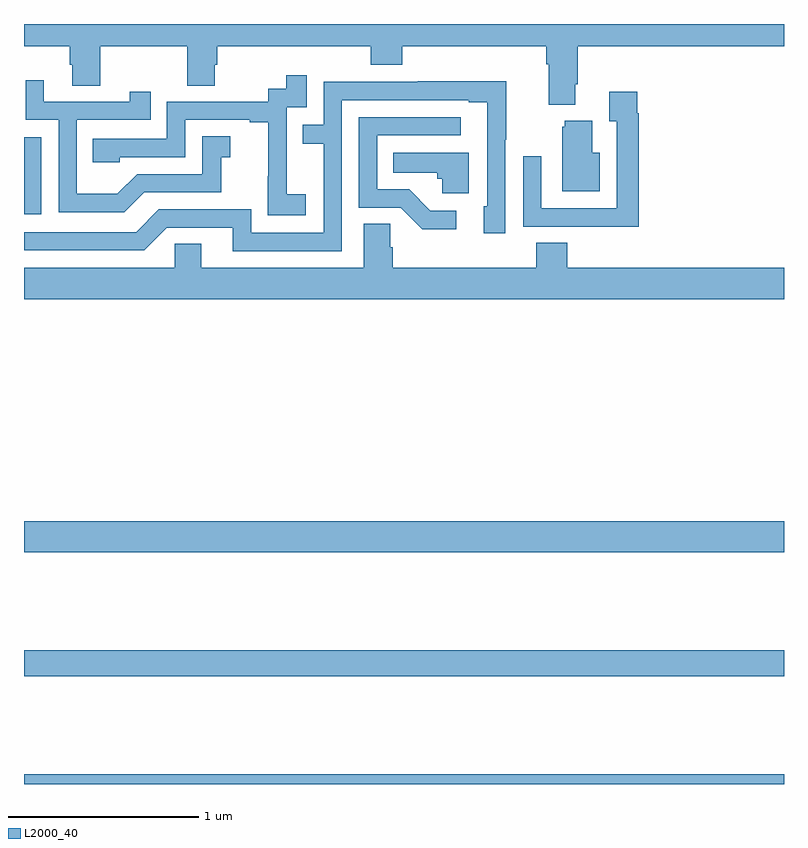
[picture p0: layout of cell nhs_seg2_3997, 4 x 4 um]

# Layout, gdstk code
import gdstk
lib = gdstk.Library(unit=1e-6, precision=1e-09)
def R(c, l, rs):  # rectangles x0, y0, x1, y1
    for r in rs: c.add(gdstk.rectangle(r[:2], r[2:], *l))
def P(c, l, *ps):  # polygons
    for p in ps: c.add(gdstk.Polygon(p, *l))
L2000_40 = (2000, 40)

nhs_seg2_3997 = lib.new_cell('nhs_seg2_3997')
R(nhs_seg2_3997, L2000_40, [(325,595.8,329,595.852), (325,596.368,329,596.504), (325,597.02,329,597.184), (325,598.8,325.092,599.205)])
P(nhs_seg2_3997, L2000_40, [(325,599.684),(325.241,599.684),(325.241,599.586),(325.253,599.586),(325.253,599.476),(325.401,599.476),(325.401,599.684),(325.858,599.684),(325.858,599.476),(326.005,599.476),(326.005,599.586),(326.018,599.586),(326.018,599.684),(326.825,599.684),(326.825,599.585),(326.99,599.585),(326.99,599.684),(327.749,599.684),(327.749,599.588),(327.761,599.588),(327.761,599.375),(327.901,599.375),(327.901,599.482),(327.914,599.482),(327.914,599.684),(329,599.684),(329,599.8),(325,599.8)],
  [(326.482,598.903),(326.384,598.903),(326.384,599.132),(326.382,599.132),(326.382,599.361),(326.487,599.361),(326.487,599.53),(326.379,599.53),(326.379,599.46),(326.286,599.46),(326.286,599.391),(325.752,599.391),(325.752,599.196),(325.363,599.196),(325.363,599.073),(325.503,599.073),(325.503,599.1),(325.848,599.1),(325.848,599.295),(326.189,599.295),(326.189,599.283),(326.285,599.283),(326.285,598.999),(326.284,598.999),(326.284,598.793),(326.482,598.793)],
  [(325.633,598.914),(326.037,598.914),(326.037,599.099),(326.086,599.099),(326.086,599.209),(325.938,599.209),(325.938,599.01),(325.596,599.01),(325.492,598.906),(325.278,598.906),(325.278,599.295),(325.667,599.295),(325.667,599.443),(325.556,599.443),(325.556,599.391),(325.105,599.391),(325.105,599.503),(325.008,599.503),(325.008,599.295),(325.182,599.295),(325.182,598.809),(325.528,598.809)],
  [(326.673,599.4),(327.341,599.4),(327.341,599.388),(327.438,599.388),(327.438,598.842),(327.419,598.842),(327.419,598.698),(327.534,598.698),(327.534,599.191),(327.537,599.191),(327.537,599.498),(327.073,599.498),(327.073,599.496),(326.577,599.496),(326.577,599.271),(326.467,599.271),(326.467,599.17),(326.577,599.17),(326.577,598.701),(326.196,598.701),(326.196,598.824),(325.71,598.824),(325.59,598.704),(325,598.704),(325,598.608),(325.632,598.608),(325.752,598.728),(326.099,598.728),(326.099,598.605),(326.673,598.605)],
  [(328.235,599.33),(328.228,599.33),(328.228,599.443),(328.079,599.443),(328.079,599.287),(328.119,599.287),(328.119,598.83),(327.723,598.83),(327.723,599.104),(327.627,599.104),(327.627,598.734),(327.943,598.734),(327.943,598.733),(328.235,598.733)],
  [(327.274,598.818),(327.139,598.818),(327.028,598.929),(326.859,598.929),(326.859,599.214),(327.298,599.214),(327.298,599.31),(326.763,599.31),(326.763,598.833),(326.982,598.833),(327.095,598.721),(327.274,598.721)],
  [(328.03,599.122),(327.991,599.122),(327.991,599.29),(327.845,599.29),(327.845,599.259),(327.833,599.259),(327.833,598.919),(328.03,598.919)],
  [(327.34,599.122),(326.944,599.122),(326.944,599.018),(327.175,599.018),(327.175,598.986),(327.201,598.986),(327.201,598.91),(327.34,598.91)],
  [(329,598.516),(327.86,598.516),(327.86,598.649),(327.695,598.649),(327.695,598.516),(326.942,598.516),(326.942,598.625),(326.928,598.625),(326.928,598.748),(326.789,598.748),(326.789,598.516),(325.933,598.516),(325.933,598.643),(325.794,598.643),(325.794,598.516),(325,598.516),(325,598.352),(329,598.352)])

lib.write_gds('nhs_seg2_3997.gds')
